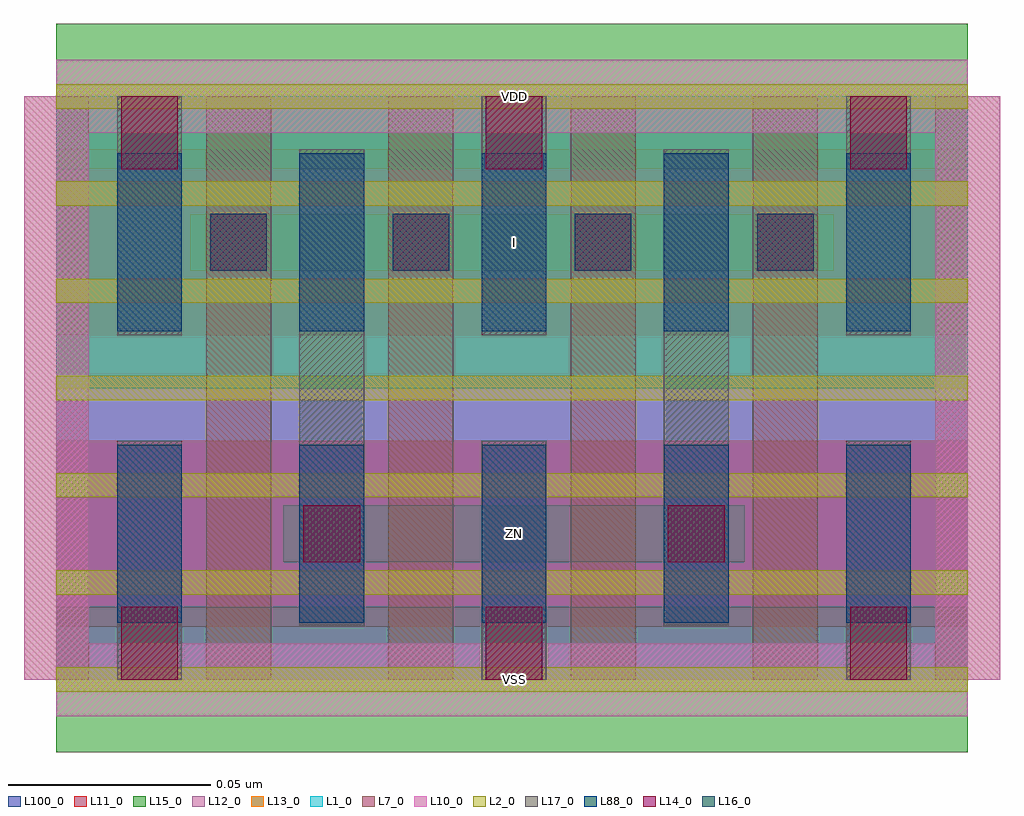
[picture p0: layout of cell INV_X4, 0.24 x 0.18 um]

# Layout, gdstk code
import gdstk
lib = gdstk.Library(unit=1e-6, precision=1e-09)
def R(c, l, rs):  # rectangles x0, y0, x1, y1
    for r in rs: c.add(gdstk.rectangle(r[:2], r[2:], *l))
def A(c, l, x, y, w, h, nx, ny, dx, dy):  # array of equal rectangles
    R(c, l, [(x+i*dx, y+j*dy, x+i*dx+w, y+j*dy+h) for i in range(nx) for j in range(ny)])
def P(c, l, *ps):  # polygons
    for p in ps: c.add(gdstk.Polygon(p, *l))
L1_0 = (1, 0)
L2_0 = (2, 0)
L7_0 = (7, 0)
L10_0 = (10, 0)
L11_0 = (11, 0)
L12_0 = (12, 0)
L13_0 = (13, 0)
L14_0 = (14, 0)
L15_0 = (15, 0)
L16_0 = (16, 0)
L17_0 = (17, 0)
L88_0 = (88, 0)
L100_0 = (100, 0)

inv_x4 = lib.new_cell('INV_X4')
R(inv_x4, L1_0, [(0,0.072,0.225,0.144)])
A(inv_x4, L2_0, 0, -0.003, 0.225, 0.006, 1, 7, 0, 0.024)
A(inv_x4, L7_0, -0.008, 0, 0.016, 0.144, 6, 1, 0.045, 0)
P(inv_x4, L10_0, [(0,-0.009),(0,0),(-0.008,0),(-0.008,0.135),(0.008,0.135),(0.008,0.009),(0.217,0.009),(0.217,0.135),(-0.008,0.135),(-0.008,0.144),(0,0.144),(0,0.153),(0.225,0.153),(0.225,0.144),(0.233,0.144),(0.233,0),(0.225,0),(0.225,-0.009)])
R(inv_x4, L11_0, [(0,0.013,0.225,0.059), (0,0.085,0.225,0.131)])
R(inv_x4, L12_0, [(0,0,0.225,0.072)])
R(inv_x4, L13_0, [(0,0.072,0.225,0.144)])
A(inv_x4, L14_0, 0.016, 0, 0.014, 0.018, 3, 2, 0.09, 0.126)
A(inv_x4, L14_0, 0.038, 0.101, 0.014, 0.014, 4, 1, 0.045, 0)
R(inv_x4, L14_0, [(0.061,0.029,0.075,0.043), (0.151,0.029,0.165,0.043)])
R(inv_x4, L15_0, [(0,-0.018,0.225,0.018), (0.056,0.029,0.17,0.043), (0.033,0.101,0.192,0.115), (0,0.126,0.225,0.162)])
A(inv_x4, L16_0, 0.038, 0.101, 0.014, 0.014, 4, 1, 0.045, 0)
A(inv_x4, L17_0, 0.015, 0, 0.016, 0.059, 3, 2, 0.09, 0.085)
R(inv_x4, L17_0, [(0.06,0.013,0.076,0.131), (0.15,0.013,0.166,0.131)])
A(inv_x4, L88_0, 0.015, 0.014, 0.016, 0.044, 5, 2, 0.045, 0.072)
R(inv_x4, L100_0, [(0,0,0.225,0.144)])
inv_x4.add(gdstk.Label('I', (0.113,0.108), layer=15, texttype=251))
inv_x4.add(gdstk.Label('VSS', (0.113,0), layer=15, texttype=251))
inv_x4.add(gdstk.Label('VDD', (0.113,0.144), layer=15, texttype=251))
inv_x4.add(gdstk.Label('ZN', (0.113,0.036), layer=15, texttype=251))
inv_x4.add(gdstk.Label('VSS', (0.113,0), layer=15, texttype=251))
inv_x4.add(gdstk.Label('VDD', (0.113,0.144), layer=15, texttype=251))
inv_x4.add(gdstk.Label('VSS', (0.113,0), layer=3, texttype=251))
inv_x4.add(gdstk.Label('VSS', (0.113,0), layer=3, texttype=251))
inv_x4.add(gdstk.Label('VDD', (0.113,0.144), layer=1, texttype=251))
inv_x4.add(gdstk.Label('VDD', (0.113,0.144), layer=1, texttype=251))

lib.write_gds('INV_X4.gds')
